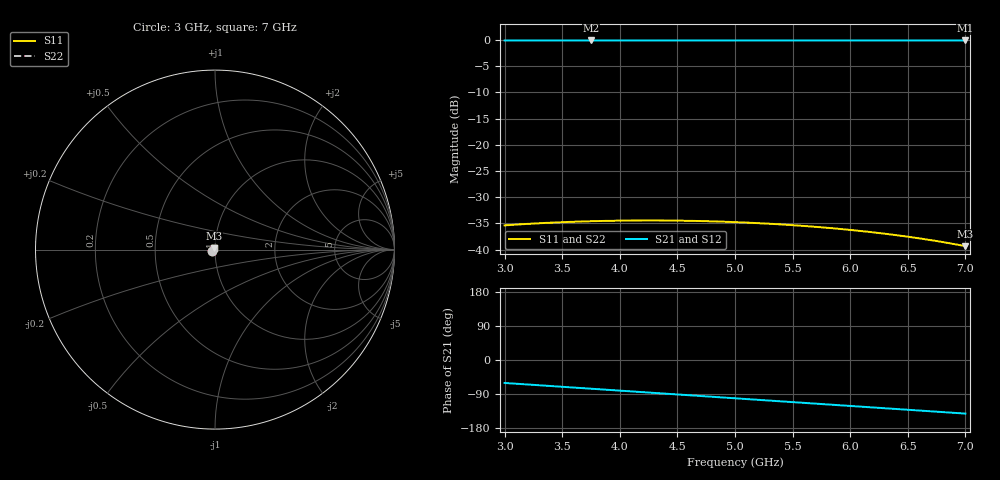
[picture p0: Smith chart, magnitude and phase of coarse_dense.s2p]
! yapnr rf: line-osh-m-w0p40-l10-m-eq-em528, footprint re-simulated (optimization grid)
! spec sha256 481213eb7ef25ea973283babd221eab5491b15bb95854c30e81f7bd2606d49bb
! 2 ports renormalized to 50 ohm, e^(+jwt) convention
# GHz S RI R 50
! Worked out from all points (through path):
!   161 points, 3 GHz to 7 GHz, reference 50 ohm
!   highest |S21| = -0.11 dB at 7 GHz (marker M1); lowest = -0.1 dB at 3.75 GHz (marker M2)
!   group delay of S21, straight-line fit = 56.1 ps
!   lowest |S11| = -39.3 dB at 7 GHz (marker M3), VSWR 1.02, Z = 49.3 + j0.788 ohm
!   |S11| at or under -10 dB: start of sweep to end of sweep
!   |S22| runs from -39.3 to -34.4 dB; largest |S21 - S12| = 0
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3  -0.0147 -0.00861  0.4844 -0.8597  0.4844 -0.8597  -0.0147 -0.00861
3.175  -0.0157 -0.00793  0.4305 -0.8879  0.4305 -0.8879  -0.0157 -0.00793
3.35  -0.0165 -0.00713  0.375 -0.9127  0.375 -0.9127  -0.0165 -0.00713
3.525  -0.0172 -0.00624  0.318 -0.9341  0.318 -0.9341  -0.0172 -0.00624
3.675  -0.0178 -0.0054  0.2682 -0.9496  0.2682 -0.9496  -0.0178 -0.0054
3.75  -0.018 -0.00496  0.243 -0.9564  0.243 -0.9564  -0.018 -0.00496
4.05  -0.0187 -0.0031  0.1407 -0.9767  0.1407 -0.9767  -0.0187 -0.0031
4.35  -0.0189 -0.00113  0.0368 -0.9861  0.0368 -0.9861  -0.0189 -0.00113
4.5  -0.0189 -0.000143  -0.0154 -0.9867  -0.0154 -0.9867  -0.0189 -0.000143
4.675  -0.0187 0.000999  -0.0762 -0.9838  -0.0762 -0.9838  -0.0187 0.000999
4.825  -0.0185 0.00195  -0.1281 -0.9784  -0.1281 -0.9784  -0.0185 0.00195
5  -0.0181 0.00302  -0.1882 -0.9687  -0.1882 -0.9687  -0.0181 0.00302
5.15  -0.0176 0.00389  -0.2392 -0.9574  -0.2392 -0.9574  -0.0176 0.00389
5.325  -0.0169 0.00482  -0.2978 -0.9408  -0.2978 -0.9408  -0.0169 0.00482
5.5  -0.0162 0.00567  -0.3553 -0.9207  -0.3553 -0.9207  -0.0162 0.00567
5.675  -0.0153 0.00641  -0.4115 -0.897  -0.4115 -0.897  -0.0153 0.00641
6  -0.0135 0.00749  -0.5114 -0.844  -0.5114 -0.844  -0.0135 0.00749
6.175  -0.0124 0.00789  -0.5626 -0.8109  -0.5626 -0.8109  -0.0124 0.00789
6.35  -0.0113 0.00816  -0.6116 -0.7746  -0.6116 -0.7746  -0.0113 0.00816
6.675  -0.00928 0.00831  -0.6963 -0.6995  -0.6963 -0.6995  -0.00928 0.00831
6.85  -0.00818 0.0082  -0.7382 -0.6552  -0.7382 -0.6552  -0.00818 0.0082
7  -0.00726 0.008  -0.7718 -0.6152  -0.7718 -0.6152  -0.00726 0.008
